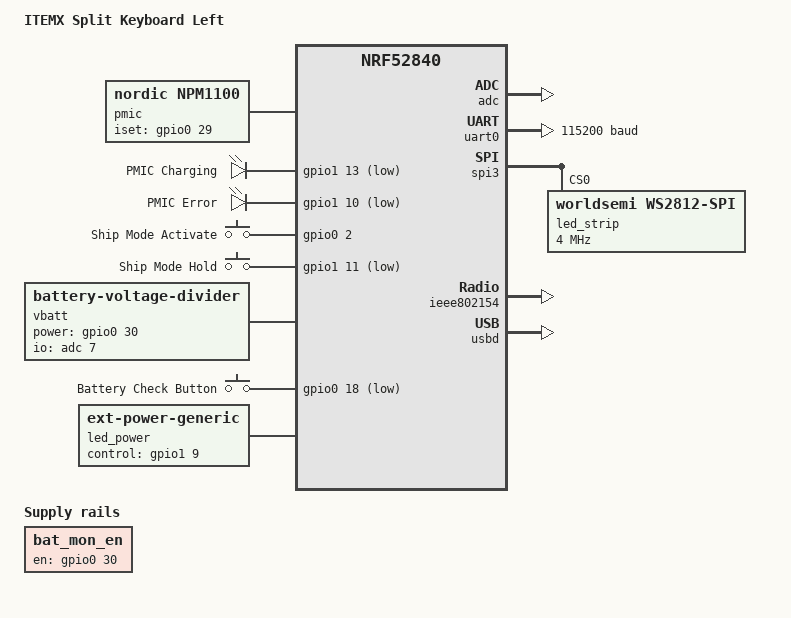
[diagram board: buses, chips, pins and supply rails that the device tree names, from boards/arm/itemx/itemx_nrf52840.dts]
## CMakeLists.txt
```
# SPDX-License-Identifier: Apache-2.0

cmake_minimum_required(VERSION 3.20.0)
find_package(Zephyr REQUIRED HINTS $ENV{ZEPHYR_BASE})
project(itemx)

target_sources(app PRIVATE src/main.c)
```

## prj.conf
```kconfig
# SPDX-License-Identifier: Apache-2.0
# Application-level Kconfig overrides

CONFIG_LOG=y
```

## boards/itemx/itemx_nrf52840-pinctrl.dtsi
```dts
/*
 * SPDX-License-Identifier: Apache-2.0
 *
 * Pin control for ITEMX board (nRF52840)
 * SPI2 is used to drive the SK6812 LED strip via MOSI on P0.12
 */

&pinctrl {
	spi2_default: spi2_default {
		group1 {
			psels = <NRF_PSEL(SPIM_MOSI, 0, 12)>;
		};
	};

	spi2_sleep: spi2_sleep {
		group1 {
			psels = <NRF_PSEL(SPIM_MOSI, 0, 12)>;
			low-power-enable;
		};
	};
};
```

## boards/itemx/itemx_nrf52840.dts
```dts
/*
 * SPDX-License-Identifier: Apache-2.0
 *
 * ITEMX — Split ergonomic keyboard, left half (master)
 * MCU: nRF52840-QIAA
 * PMIC: nPM1100
 */

/dts-v1/;
#include <nordic/nrf52840_qiaa.dtsi>
#include <nordic/nrf52840_partition.dtsi>
#include "itemx_nrf52840-pinctrl.dtsi"
#include <zephyr/dt-bindings/regulator/npm1100.h>
#include <zephyr/dt-bindings/led/led.h>

/ {
	model = "ITEMX Split Keyboard Left";
	compatible = "itemx,nrf52840";

	chosen {
		zephyr,sram = &sram0;
		zephyr,flash = &flash0;
		zephyr,code-partition = &slot0_partition;
		zephyr,ieee802154 = &ieee802154;
	};

	/* ── nPM1100 PMIC ────────────────────────────────────── */
	pmic: pmic {
		compatible = "nordic,npm1100";

		/* ISET: P0.29 — USB current limit (low=100mA, high=500mA) */
		nordic,iset-gpios = <&gpio0 29 GPIO_ACTIVE_HIGH>;

		BUCK {
			regulator-initial-mode = <NPM1100_MODE_AUTO>;
			/* MODE: P1.15 — buck mode select (low=auto, high=PWM) */
			nordic,mode-gpios = <&gpio1 15 GPIO_ACTIVE_HIGH>;
		};
	};

	/* ── nPM1100 status inputs (active-low, open-drain) ─── */
	pmic_status {
		compatible = "gpio-leds";

		/* CHG: P1.13 — charge indicator (open-drain, needs pull-up) */
		pmic_chg: chg {
			gpios = <&gpio1 13 (GPIO_ACTIVE_LOW | GPIO_PULL_UP)>;
			label = "PMIC Charging";
		};

		/* ERR: P1.10 — error indicator (open-drain, needs pull-up) */
		pmic_err: err {
			gpios = <&gpio1 10 (GPIO_ACTIVE_LOW | GPIO_PULL_UP)>;
			label = "PMIC Error";
		};
	};

	/* ── Ship mode control ────────────────────────────────── */
	pmic_ship {
		compatible = "gpio-keys";

		/* SHPACT: P0.02 — ship mode activate (high ≥200ms to enter) */
		shpact: shpact {
			gpios = <&gpio0 2 GPIO_ACTIVE_HIGH>;
			label = "Ship Mode Activate";
		};

		/* SHPHLD: P1.11 — ship mode hold (low ≥200ms to exit) */
		shphld: shphld {
			gpios = <&gpio1 11 GPIO_ACTIVE_LOW>;
			label = "Ship Mode Hold";
		};
	};

	/* ── Battery monitoring ───────────────────────────────── */
	bat_mon_en: bat_mon_en {
		compatible = "regulator-fixed";
		regulator-name = "BAT_MON_EN";
		enable-gpios = <&gpio0 30 GPIO_ACTIVE_HIGH>;
	};

	vbatt: vbatt {
		compatible = "voltage-divider";
		io-channels = <&adc 7>;     /* AIN7 = P0.31 */
		output-ohms  = <220000>;    /* 220 kΩ — résistance basse (vers GND) */
		full-ohms    = <1730000>;   /* 220 kΩ + 1.51 MΩ = 1.73 MΩ total */
		power-gpios = <&gpio0 30 GPIO_ACTIVE_HIGH>;
	};

	/* ── SK6812 LED strip (4x RGB) ───────────────────────── */
	led_power: led_power {
		compatible = "regulator-fixed";
		regulator-name = "LED_POWER";
		enable-gpios = <&gpio1 9 GPIO_ACTIVE_HIGH>;
	};

	/* ── Keyboard matrix pins are defined by the ZMK shield ── */

	aliases {
		led-strip = &led_strip;
		sw0 = &shpact;
		watchdog0 = &wdt0;
	};
};

/* ── Enable internal DC/DC for efficiency ─────────────────── */
&reg0 {
	status = "okay";
};

&reg1 {
	regulator-initial-mode = <NRF5X_REG_MODE_DCDC>;
};

/* ── ADC for battery voltage ──────────────────────────────── */
&adc {
	status = "okay";
};

/* ── SPI2 dedicated to LED strip ──────────────────────────── */
&spi2 {
	compatible = "nordic,nrf-spim";
	status = "okay";
	pinctrl-0 = <&spi2_default>;
	pinctrl-1 = <&spi2_sleep>;
	pinctrl-names = "default", "sleep";

	led_strip: ws2812@0 {
		compatible = "worldsemi,ws2812-spi";
		reg = <0>;
		spi-max-frequency = <4000000>;
		chain-length = <4>;
		color-mapping = <LED_COLOR_ID_GREEN LED_COLOR_ID_RED LED_COLOR_ID_BLUE>;
		spi-one-frame = <0x70>;
		spi-zero-frame = <0x40>;
	};
};

/* ── GPIO ports ───────────────────────────────────────────── */
&gpiote {
	status = "okay";
};

&gpio0 {
	status = "okay";
};

&gpio1 {
	status = "okay";
};

/* ── Flash ────────────────────────────────────────────────── */
&flash0 {
	/*
	 * For more information, see:
	 * https://docs.zephyrproject.org/latest/services/storage/index.html
	 */
};

/* ── Bluetooth ────────────────────────────────────────────── */
&ieee802154 {
	status = "okay";
};

/* ── USB ──────────────────────────────────────────────────── */
zephyr_udc0: &usbd {
	compatible = "nordic,nrf-usbd";
	status = "okay";
};
```

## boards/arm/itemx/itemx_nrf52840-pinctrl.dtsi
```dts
/*
 * SPDX-License-Identifier: Apache-2.0
 *
 * Pin control for ITEMX board (nRF52840)
 * SPI3 is used to drive the SK6805 LED strip via MOSI on P0.12
 * (matches the official ZMK nRF52 RGB underglow example)
 */

&pinctrl {
	uart0_default: uart0_default {
		group1 {
			psels = <NRF_PSEL(UART_TX, 1, 1)>, <NRF_PSEL(UART_RX, 1, 2)>;
		};
	};

	uart0_sleep: uart0_sleep {
		group1 {
			psels = <NRF_PSEL(UART_TX, 1, 1)>, <NRF_PSEL(UART_RX, 1, 2)>;
			low-power-enable;
		};
	};

	spi3_default: spi3_default {
		group1 {
			psels = <NRF_PSEL(SPIM_MOSI, 0, 12)>;
		};
	};

	spi3_sleep: spi3_sleep {
		group1 {
			psels = <NRF_PSEL(SPIM_MOSI, 0, 12)>;
			low-power-enable;
		};
	};
};
```

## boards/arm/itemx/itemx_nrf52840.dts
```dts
/*
 * SPDX-License-Identifier: Apache-2.0
 *
 * ITEMX — Split ergonomic keyboard, left half (master)
 * MCU: nRF52840-QIAA
 * PMIC: nPM1100
 */

/dts-v1/;
#include <nordic/nrf52840_qiaa.dtsi>
#include "itemx_nrf52840-pinctrl.dtsi"
#include <zephyr/dt-bindings/regulator/npm1100.h>
#include <zephyr/dt-bindings/led/led.h>

/ {
	model = "ITEMX Split Keyboard Left";
	compatible = "itemx,nrf52840";

	chosen {
		zephyr,console = &uart0;
		zephyr,shell-uart = &uart0;
		zephyr,bt-mon-uart = &uart0;
		zephyr,bt-c2h-uart = &uart0;
		zephyr,sram = &sram0;
		zephyr,flash = &flash0;
		zephyr,ieee802154 = &ieee802154;
		zmk,underglow = &led_strip;
		zmk,battery = &vbatt;
	};

	pmic: pmic {
		compatible = "nordic,npm1100";

		nordic,iset-gpios = <&gpio0 29 GPIO_ACTIVE_HIGH>;

		BUCK {
			regulator-initial-mode = <NPM1100_MODE_PWM>;
			nordic,mode-gpios = <&gpio1 15 GPIO_ACTIVE_HIGH>;
		};
	};

	pmic_status {
		compatible = "gpio-leds";

		pmic_chg: chg {
			gpios = <&gpio1 13 (GPIO_ACTIVE_LOW | GPIO_PULL_UP)>;
			label = "PMIC Charging";
		};

		pmic_err: err {
			gpios = <&gpio1 10 (GPIO_ACTIVE_LOW | GPIO_PULL_UP)>;
			label = "PMIC Error";
		};
	};

	pmic_ship {
		compatible = "gpio-keys";

		shpact: shpact {
			gpios = <&gpio0 2 GPIO_ACTIVE_HIGH>;
			label = "Ship Mode Activate";
		};

		shphld: shphld {
			gpios = <&gpio1 11 (GPIO_ACTIVE_LOW | GPIO_PULL_UP)>;
			label = "Ship Mode Hold";
		};
	};

	bat_mon_en: bat_mon_en {
		compatible = "regulator-fixed";
		regulator-name = "BAT_MON_EN";
		enable-gpios = <&gpio0 30 GPIO_ACTIVE_HIGH>;
	};

	vbatt: vbatt {
		compatible = "zmk,battery-voltage-divider";
		io-channels = <&adc 7>;
		output-ohms  = <220000>;
		full-ohms    = <1730000>;
		power-gpios = <&gpio0 30 GPIO_ACTIVE_HIGH>;
	};

	battery_check {
		compatible = "gpio-keys";

		battery_check_btn: battery_check_btn {
			/* P0.18 / nRESET net, reused as a plain input.
			 * CONFIG_GPIO_AS_PINRESET is never set in this project,
			 * so UICR PSELRESET stays unconfigured and this pin behaves
			 * as a normal GPIO (SWD/OpenOCD reset uses AIRCR, not this pin).
			 * External 100k pull-up per hardware design; button pulls low.
			 */
			gpios = <&gpio0 18 GPIO_ACTIVE_LOW>;
			label = "Battery Check Button";
		};
	};

	led_power: led_power {
		compatible = "zmk,ext-power-generic";
		init-delay-ms = <10>;
		control-gpios = <&gpio1 9 GPIO_ACTIVE_HIGH>;
	};

	behaviors {
		hw_soft_off: hw_soft_off {
			compatible = "zmk,behavior-soft-off";
			#binding-cells = <0>;
			hold-time-ms = <1000>;
		};

		/* Internal split-RPC endpoint used by the central to forward its
		 * BLE host-connection state to the peripheral. Never bound in the
		 * keymap; invoked by name ("BLEHOST") from ble_status_led.c. */
		ble_host_status: ble_host_status {
			compatible = "zmk,behavior-host-status";
			#binding-cells = <0>;
			label = "BLEHOST";
		};
	};

	soft_off_direct_kscan: soft_off_direct_kscan {
		compatible = "zmk,kscan-gpio-direct";
		input-keys = <&shphld>;
		debounce-press-ms = <100>;
		debounce-release-ms = <100>;
		wakeup-source;
	};

	soft_off_sideband_behaviors {
		compatible = "zmk,kscan-sideband-behaviors";
		kscan = <&soft_off_direct_kscan>;
		auto-enable;
		wakeup-source;

		soft_off {
			row = <0>;
			column = <0>;
			bindings = <&hw_soft_off>;
		};
	};

	soft_off_wakers {
		compatible = "zmk,soft-off-wakeup-sources";
		status = "okay";
		wakeup-sources = <&soft_off_direct_kscan>;
	};

	aliases {
		led-strip = &led_strip;
		sw0 = &shpact;
		watchdog0 = &wdt0;
	};
};

&adc {
	status = "okay";
};

&uart0 {
	compatible = "nordic,nrf-uarte";
	status = "okay";
	current-speed = <115200>;
	pinctrl-0 = <&uart0_default>;
	pinctrl-1 = <&uart0_sleep>;
	pinctrl-names = "default", "sleep";
};

&spi3 {
	compatible = "nordic,nrf-spim";
	status = "okay";
	pinctrl-0 = <&spi3_default>;
	pinctrl-1 = <&spi3_sleep>;
	pinctrl-names = "default", "sleep";

	led_strip: ws2812@0 {
		compatible = "worldsemi,ws2812-spi";
		reg = <0>;
		spi-max-frequency = <4000000>;
		chain-length = <4>;
		color-mapping = <LED_COLOR_ID_GREEN LED_COLOR_ID_RED LED_COLOR_ID_BLUE>;
		spi-one-frame = <0x70>;
		spi-zero-frame = <0x40>;
	};
};

&gpiote {
	status = "okay";
};

&gpio0 {
	status = "okay";
};

&gpio1 {
	status = "okay";
};

&flash0 {
	partitions {
		compatible = "fixed-partitions";
		#address-cells = <1>;
		#size-cells = <1>;

		storage_partition: partition@f8000 {
			label = "storage";
			reg = <0x000f8000 0x00008000>;
		};
	};
};

&ieee802154 {
	status = "okay";
};

zephyr_udc0: &usbd {
	compatible = "nordic,nrf-usbd";
	status = "okay";
};
```

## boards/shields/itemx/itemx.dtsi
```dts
/*
 * SPDX-License-Identifier: Apache-2.0
 *
 * ITEMX shield — common kscan matrix + transform
 * Split ergonomic keyboard, Corne-like layout
 * Matrix: 4 rows × 12 columns (6 per side)
 * 44 keys: 3×6 + 4 thumbs per side
 *
 * Physical wiring (left half, col2row diodes):
 *   Rows: P1.12 (R0), P1.14 (R1), P0.28 (R2), P1.08 (R3)
 *   Cols: P0.27 (C1), P0.26 (C2), P0.04 (C3), P0.07 (C4), P0.11 (C5), P0.06 (C6)
 *   Row 3 / Col 0, 1, 10 and 11 are empty (no physical key)
 */

#include <dt-bindings/zmk/matrix_transform.h>

/ {
    chosen {
        zmk,kscan = &kscan0;
        zmk,matrix_transform = &default_transform;
    };

    default_transform: keymap_transform_0 {
        compatible = "zmk,matrix-transform";
        columns = <12>;
        rows = <4>;

        map = <
RC(0,0) RC(0,1) RC(0,2) RC(0,3) RC(0,4) RC(0,5)                                         RC(0,6) RC(0,7) RC(0,8) RC(0,9) RC(0,10) RC(0,11)
RC(1,0) RC(1,1) RC(1,2) RC(1,3) RC(1,4) RC(1,5)                                         RC(1,6) RC(1,7) RC(1,8) RC(1,9) RC(1,10) RC(1,11)
RC(2,0) RC(2,1) RC(2,2) RC(2,3) RC(2,4) RC(2,5)                                         RC(2,6) RC(2,7) RC(2,8) RC(2,9) RC(2,10) RC(2,11)
                RC(3,2) RC(3,3) RC(3,4) RC(3,5)                                         RC(3,6) RC(3,7) RC(3,8) RC(3,9)
        >;
    };

    kscan0: kscan {
        compatible = "zmk,kscan-gpio-matrix";
        label = "KSCAN";

        diode-direction = "col2row";

        row-gpios
            = <&gpio1 12 (GPIO_ACTIVE_HIGH | GPIO_PULL_DOWN)>  /* Row 0 — P1.12 */
            , <&gpio1 14 (GPIO_ACTIVE_HIGH | GPIO_PULL_DOWN)>  /* Row 1 — P1.14 */
            , <&gpio0 28 (GPIO_ACTIVE_HIGH | GPIO_PULL_DOWN)>  /* Row 2 — P0.28 */
            , <&gpio1  8 (GPIO_ACTIVE_HIGH | GPIO_PULL_DOWN)>  /* Row 3 — P1.08 */
            ;
    };
};
```

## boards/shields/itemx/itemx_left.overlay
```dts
/* SPDX-License-Identifier: Apache-2.0
 *
 * ITEMX — left half overlay
 */

#include "itemx.dtsi"

&kscan0 {
    col-gpios
        = <&gpio0 27 GPIO_ACTIVE_HIGH>  /* Col 1 — P0.27 */
        , <&gpio0 26 GPIO_ACTIVE_HIGH>  /* Col 2 — P0.26 */
        , <&gpio0  4 GPIO_ACTIVE_HIGH>  /* Col 3 — P0.04 */
        , <&gpio0  7 GPIO_ACTIVE_HIGH>  /* Col 4 — P0.07 */
        , <&gpio0 11 GPIO_ACTIVE_HIGH>  /* Col 5 — P0.11 */
        , <&gpio0  6 GPIO_ACTIVE_HIGH>  /* Col 6 — P0.06 */
        ;
};
```

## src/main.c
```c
/*
 * SPDX-License-Identifier: Apache-2.0
 *
 * ITEMX — minimal Zephyr application stub
 */

#include <zephyr/kernel.h>

int main(void)
{
	printk("ITEMX board started\n");
	return 0;
}
```
